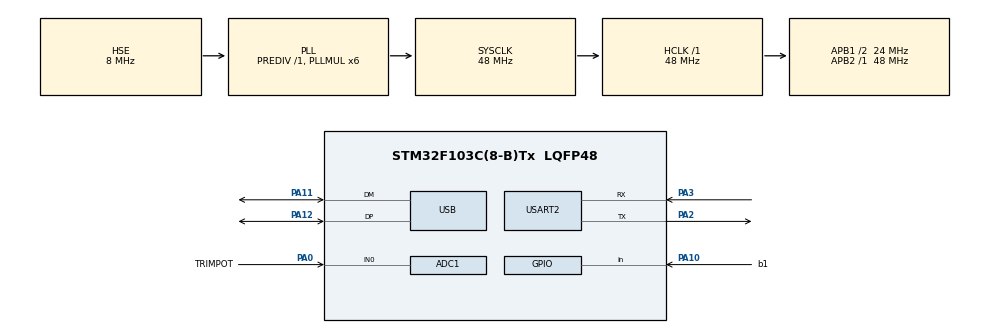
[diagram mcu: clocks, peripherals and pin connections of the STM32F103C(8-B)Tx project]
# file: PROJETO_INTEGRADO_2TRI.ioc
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ADC1.Channel-0\#ChannelRegularConversion=ADC_CHANNEL_0
ADC1.DataAlign=ADC_DATAALIGN_RIGHT
ADC1.EnableAnalogWatchDog=false
ADC1.NbrOfConversion=1
ADC1.NbrOfConversionFlag=1
ADC1.Rank-0\#ChannelRegularConversion=1
ADC1.SamplingTime-0\#ChannelRegularConversion=ADC_SAMPLETIME_1CYCLE_5
ADC1.master=1
Mcu.Family=STM32F1
Mcu.Name=STM32F103C(8-B)Tx
Mcu.Package=LQFP48
NVIC.PriorityGroup=NVIC_PRIORITYGROUP_4
NVIC.USB_LP_CAN1_RX0_IRQn=true\:0\:0\:false\:false\:true\:false\:true
PA0-WKUP.GPIO_Label=TRIMPOT
PA0-WKUP.Signal=SharedAnalog_PA0
PA10.GPIO_Label=b1
PA10.GPIO_PuPd=GPIO_PULLUP
PA10.Signal=GPIO_Input
PA11.Mode=Device
PA11.Signal=USB_DM
PA12.Mode=Device
PA12.Signal=USB_DP
PA13.Mode=Serial_Wire
PA13.Signal=SYS_JTMS-SWDIO
PA14.Mode=Serial_Wire
PA14.Signal=SYS_JTCK-SWCLK
PA2.Mode=Asynchronous
PA2.Signal=USART2_TX
PA3.Mode=Asynchronous
PA3.Signal=USART2_RX
PD0-OSC_IN.Mode=HSE-External-Oscillator
PD0-OSC_IN.Signal=RCC_OSC_IN
PD1-OSC_OUT.Mode=HSE-External-Oscillator
PD1-OSC_OUT.Signal=RCC_OSC_OUT
ProjectManager.HeapSize=0x200
ProjectManager.StackSize=0x400
ProjectManager.TargetToolchain=STM32CubeIDE
RCC.ADCPresc=RCC_ADCPCLK2_DIV4
RCC.AHBFreq_Value=48000000
RCC.APB1CLKDivider=RCC_HCLK_DIV2
RCC.APB1Freq_Value=24000000
RCC.APB1TimFreq_Value=48000000
RCC.APB2Freq_Value=48000000
RCC.APB2TimFreq_Value=48000000
RCC.HCLKFreq_Value=48000000
RCC.PLLMUL=RCC_PLL_MUL6
RCC.SYSCLKFreq_VALUE=48000000
RCC.SYSCLKSource=RCC_SYSCLKSOURCE_PLLCLK
RCC.USBFreq_Value=48000000
SH.SharedAnalog_PA0.0=GPIO_Analog
SH.SharedAnalog_PA0.1=ADC1_IN0,IN0
USART2.VirtualMode=VM_ASYNC
USB_DEVICE.CLASS_NAME_FS=CDC
USB_DEVICE.VirtualMode=Cdc
USB_DEVICE.VirtualModeFS=Cdc_FS
VP_USB_DEVICE_VS_USB_DEVICE_CDC_FS.Mode=CDC_FS
board=custom

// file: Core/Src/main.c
/* USER CODE BEGIN Header */
/**
  ******************************************************************************
  * @file           : main.c
  * @brief          : Main program body
  ******************************************************************************
  * @attention
  *
  * <h2><center>&copy; Copyright (c) 2026 STMicroelectronics.
  * All rights reserved.</center></h2>
  *
  * This software component is licensed by ST under BSD 3-Clause license,
  * the "License"; You may not use this file except in compliance with the
  * License. You may obtain a copy of the License at:
  *                        opensource.org/licenses/BSD-3-Clause
  *
  ******************************************************************************
  */
/* USER CODE END Header */
#include "main.h"
#include "usb_device.h"
#include "usbd_cdc_if.h"
#include <stdio.h>
#include <string.h>

/* USER CODE BEGIN PD */
#define VALOR_MIN 0
#define VALOR_MAX 4095

#define b1_PIN GPIO_PIN_10
#define b1_PORT GPIOA
/* USER CODE END PD */

ADC_HandleTypeDef hadc1;

UART_HandleTypeDef huart2;

/* USER CODE BEGIN PV */
uint32_t adc_value;
uint32_t buffer[5] = {0};
int idx = 0;
uint32_t ultimo_valor_valido = 0;
char msg[128];

uint8_t filtro_ativo = 0;
/* USER CODE END PV */

void SystemClock_Config(void);
static void MX_GPIO_Init(void);
static void MX_ADC1_Init(void);
static void MX_USART2_UART_Init(void);

int main(void)
{

  /* MCU Configuration--------------------------------------------------------*/

  /* Reset of all peripherals, Initializes the Flash interface and the Systick. */
  HAL_Init();

  /* Configure the system clock */
  SystemClock_Config();

  /* Initialize all configured peripherals */
  MX_GPIO_Init();
  MX_ADC1_Init();
  MX_USB_DEVICE_Init();
  MX_USART2_UART_Init();

  /* Infinite loop */
  /* USER CODE BEGIN WHILE */

  while (1)
  {
	  HAL_ADC_Start(&hadc1);
	  HAL_ADC_PollForConversion(&hadc1, HAL_MAX_DELAY);
	  adc_value = HAL_ADC_GetValue(&hadc1);

	  if (HAL_GPIO_ReadPin(b1_PORT, b1_PIN) == GPIO_PIN_RESET)
	  {
	      filtro_ativo = 1;

	      buffer[idx] = adc_value;
	      idx = (idx + 1) % 5;

	      uint32_t soma = 0;

	      for (int i = 0; i < 5; i++)
	      {
	          soma += buffer[i];
	      }

	      adc_value = soma / 5;
	  }
	  else
	  {
	      filtro_ativo = 0;
	  }

	  sprintf(msg, "@PI2|ADC_VAL=%lu|F=%d\r\n",adc_value,filtro_ativo);

	  while (CDC_Transmit_FS((uint8_t*)msg, strlen(msg)) == USBD_BUSY)
	  {
	      HAL_Delay(1);
	  }

	  HAL_Delay(1000);

    /* USER CODE END WHILE */

  }
}

void SystemClock_Config(void)
{
  RCC_OscInitTypeDef RCC_OscInitStruct = {0};
  RCC_ClkInitTypeDef RCC_ClkInitStruct = {0};
  RCC_PeriphCLKInitTypeDef PeriphClkInit = {0};

  /** Initializes the RCC Oscillators according to the specified parameters
  * in the RCC_OscInitTypeDef structure.
  */
  RCC_OscInitStruct.OscillatorType = RCC_OSCILLATORTYPE_HSE;
  RCC_OscInitStruct.HSEState = RCC_HSE_ON;
  RCC_OscInitStruct.HSEPredivValue = RCC_HSE_PREDIV_DIV1;
  RCC_OscInitStruct.HSIState = RCC_HSI_ON;
  RCC_OscInitStruct.PLL.PLLState = RCC_PLL_ON;
  RCC_OscInitStruct.PLL.PLLSource = RCC_PLLSOURCE_HSE;
  RCC_OscInitStruct.PLL.PLLMUL = RCC_PLL_MUL6;
  if (HAL_RCC_OscConfig(&RCC_OscInitStruct) != HAL_OK)
  {
    Error_Handler();
  }
  /** Initializes the CPU, AHB and APB buses clocks
  */
  RCC_ClkInitStruct.ClockType = RCC_CLOCKTYPE_HCLK|RCC_CLOCKTYPE_SYSCLK
                              |RCC_CLOCKTYPE_PCLK1|RCC_CLOCKTYPE_PCLK2;
  RCC_ClkInitStruct.SYSCLKSource = RCC_SYSCLKSOURCE_PLLCLK;
  RCC_ClkInitStruct.AHBCLKDivider = RCC_SYSCLK_DIV1;
  RCC_ClkInitStruct.APB1CLKDivider = RCC_HCLK_DIV2;
  RCC_ClkInitStruct.APB2CLKDivider = RCC_HCLK_DIV1;

  if (HAL_RCC_ClockConfig(&RCC_ClkInitStruct, FLASH_LATENCY_1) != HAL_OK)
  {
    Error_Handler();
  }
  PeriphClkInit.PeriphClockSelection = RCC_PERIPHCLK_ADC|RCC_PERIPHCLK_USB;
  PeriphClkInit.AdcClockSelection = RCC_ADCPCLK2_DIV4;
  PeriphClkInit.UsbClockSelection = RCC_USBCLKSOURCE_PLL;
  if (HAL_RCCEx_PeriphCLKConfig(&PeriphClkInit) != HAL_OK)
  {
    Error_Handler();
  }
}

static void MX_ADC1_Init(void)
{

  ADC_ChannelConfTypeDef sConfig = {0};

  /** Common config
  */
  hadc1.Instance = ADC1;
  hadc1.Init.ScanConvMode = ADC_SCAN_DISABLE;
  hadc1.Init.ContinuousConvMode = DISABLE;
  hadc1.Init.DiscontinuousConvMode = DISABLE;
  hadc1.Init.ExternalTrigConv = ADC_SOFTWARE_START;
  hadc1.Init.DataAlign = ADC_DATAALIGN_RIGHT;
  hadc1.Init.NbrOfConversion = 1;
  if (HAL_ADC_Init(&hadc1) != HAL_OK)
  {
    Error_Handler();
  }
  /** Configure Regular Channel
  */
  sConfig.Channel = ADC_CHANNEL_0;
  sConfig.Rank = ADC_REGULAR_RANK_1;
  sConfig.SamplingTime = ADC_SAMPLETIME_1CYCLE_5;
  if (HAL_ADC_ConfigChannel(&hadc1, &sConfig) != HAL_OK)
  {
    Error_Handler();
  }

}

static void MX_USART2_UART_Init(void)
{

  huart2.Instance = USART2;
  huart2.Init.BaudRate = 115200;
  huart2.Init.WordLength = UART_WORDLENGTH_8B;
  huart2.Init.StopBits = UART_STOPBITS_1;
  huart2.Init.Parity = UART_PARITY_NONE;
  huart2.Init.Mode = UART_MODE_TX_RX;
  huart2.Init.HwFlowCtl = UART_HWCONTROL_NONE;
  huart2.Init.OverSampling = UART_OVERSAMPLING_16;
  if (HAL_UART_Init(&huart2) != HAL_OK)
  {
    Error_Handler();
  }

}

static void MX_GPIO_Init(void)
{
  GPIO_InitTypeDef GPIO_InitStruct = {0};

  /* GPIO Ports Clock Enable */
  __HAL_RCC_GPIOD_CLK_ENABLE();
  __HAL_RCC_GPIOA_CLK_ENABLE();

  /*Configure GPIO pin : b1_Pin */
  GPIO_InitStruct.Pin = b1_Pin;
  GPIO_InitStruct.Mode = GPIO_MODE_INPUT;
  GPIO_InitStruct.Pull = GPIO_PULLUP;
  HAL_GPIO_Init(b1_GPIO_Port, &GPIO_InitStruct);

}

void Error_Handler(void)
{
  __disable_irq();
  while (1)
  {
  }
}

/************************ (C) COPYRIGHT STMicroelectronics *****END OF FILE****/
